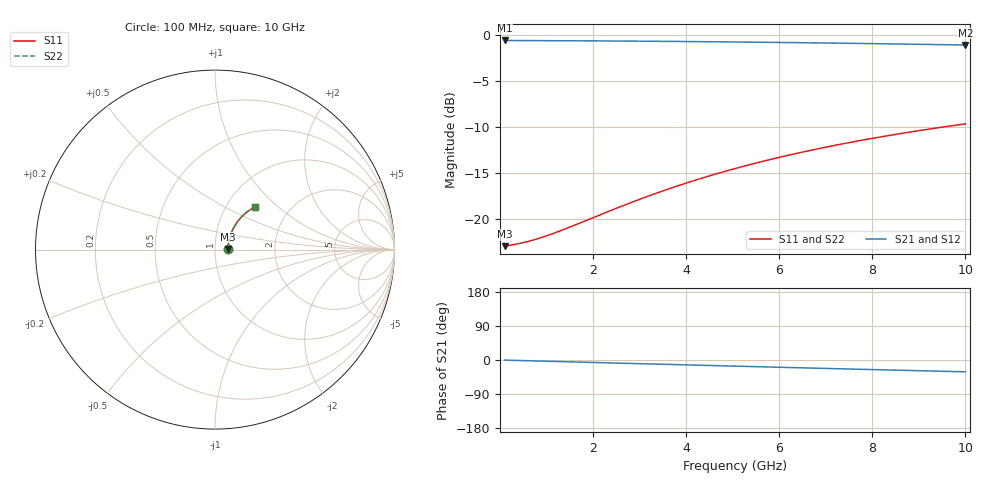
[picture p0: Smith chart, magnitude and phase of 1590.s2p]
# Hz S RI R 50.00
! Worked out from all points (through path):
!   100 points, 100 MHz to 10 GHz, reference 50 ohm
!   highest |S21| = -0.64 dB at 100 MHz (marker M1); lowest = -1.1 dB at 10 GHz (marker M2)
!   group delay of S21, straight-line fit = 8.69 ps
!   lowest |S11| = -23.0 dB at 100 MHz (marker M3), VSWR 1.15, Z = 57.6 + j0.36 ohm
!   |S11| at or under -10 dB: start of sweep to 9.58 GHz
!   |S22| runs from -23.0 to -9.7 dB; largest |S21 - S12| = 0
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1e8  0.0709 0.00311  0.9291 -0.00526  0.9291 -0.00526  0.0709 0.00311
3e8  0.0718 0.00929  0.9282 -0.0158  0.9282 -0.0158  0.0718 0.00929
5e8  0.0725 0.0155  0.9274 -0.0262  0.9274 -0.0262  0.0725 0.0155
8e8  0.0737 0.0247  0.9261 -0.0419  0.9261 -0.0419  0.0737 0.0247
1e9  0.0746 0.0308  0.9251 -0.0524  0.9251 -0.0524  0.0746 0.0308
1.2e9  0.0756 0.0369  0.924 -0.0628  0.924 -0.0628  0.0756 0.0369
1.5e9  0.0774 0.046  0.9221 -0.0783  0.9221 -0.0783  0.0774 0.046
1.8e9  0.0793 0.055  0.9198 -0.0938  0.9198 -0.0938  0.0793 0.055
2.7e9  0.087 0.0815  0.9112 -0.1397  0.9112 -0.1397  0.087 0.0815
3.1e9  0.0912 0.0929  0.9065 -0.1598  0.9065 -0.1598  0.0912 0.0929
3.4e9  0.0946 0.1014  0.9025 -0.1747  0.9025 -0.1747  0.0946 0.1014
3.8e9  0.0997 0.1124  0.8968 -0.1944  0.8968 -0.1944  0.0997 0.1124
4.2e9  0.1052 0.1232  0.8905 -0.2138  0.8905 -0.2138  0.1052 0.1232
4.6e9  0.1111 0.1336  0.8837 -0.2329  0.8837 -0.2329  0.1111 0.1336
5.1e9  0.1191 0.1463  0.8745 -0.2564  0.8745 -0.2564  0.1191 0.1463
5.5e9  0.126 0.156  0.8666 -0.2748  0.8666 -0.2748  0.126 0.156
5.9e9  0.1332 0.1654  0.8583 -0.2928  0.8583 -0.2928  0.1332 0.1654
6.7e9  0.1488 0.183  0.8402 -0.3278  0.8402 -0.3278  0.1488 0.183
7.5e9  0.1657 0.199  0.8205 -0.3612  0.8205 -0.3612  0.1657 0.199
8.4e9  0.186 0.215  0.7967 -0.3968  0.7967 -0.3968  0.186 0.215
9.2e9  0.205 0.2274  0.7742 -0.4266  0.7742 -0.4266  0.205 0.2274
1e10  0.2247 0.2379  0.7507 -0.4547  0.7507 -0.4547  0.2247 0.2379
